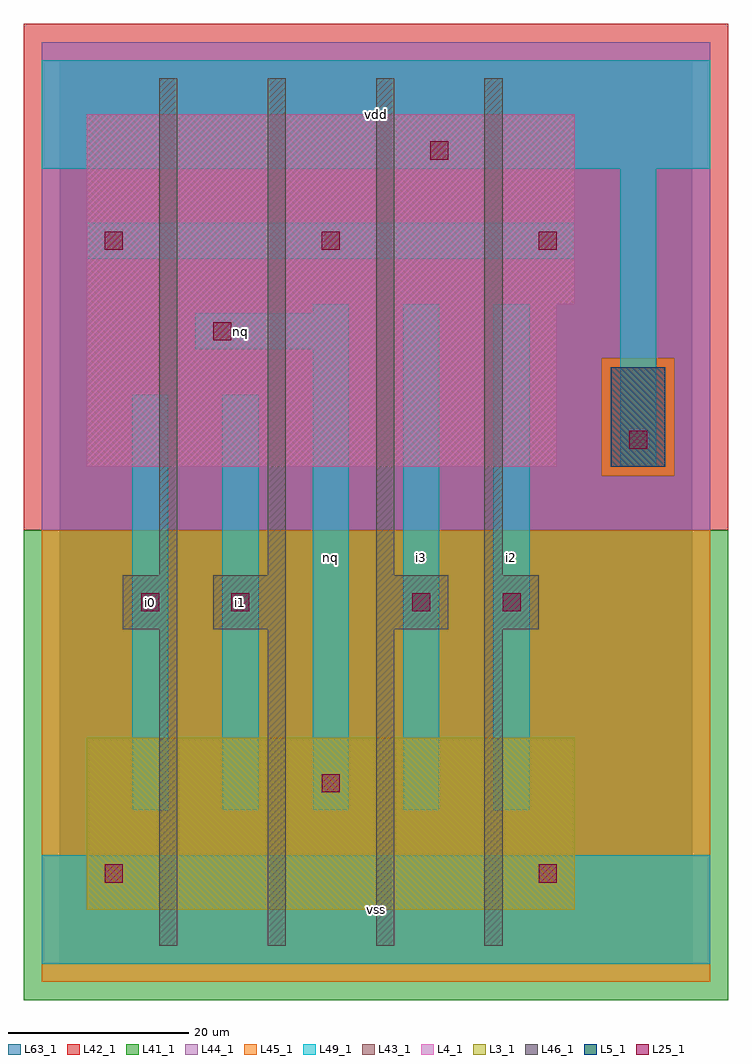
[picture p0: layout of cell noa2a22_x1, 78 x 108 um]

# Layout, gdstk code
import gdstk
lib = gdstk.Library(unit=1e-6, precision=1e-09)
def R(c, l, rs):  # rectangles x0, y0, x1, y1
    for r in rs: c.add(gdstk.rectangle(r[:2], r[2:], *l))
def A(c, l, x, y, w, h, nx, ny, dx, dy):  # array of equal rectangles
    R(c, l, [(x+i*dx, y+j*dy, x+i*dx+w, y+j*dy+h) for i in range(nx) for j in range(ny)])
L3_1 = (3, 1)
L4_1 = (4, 1)
L5_1 = (5, 1)
L25_1 = (25, 1)
L41_1 = (41, 1)
L42_1 = (42, 1)
L43_1 = (43, 1)
L44_1 = (44, 1)
L45_1 = (45, 1)
L46_1 = (46, 1)
L49_1 = (49, 1)
L63_1 = (63, 1)

noa2a22_x1 = lib.new_cell('noa2a22_x1')
R(noa2a22_x1, L3_1, [(3,6,57,25)])
R(noa2a22_x1, L4_1, [(3,55,55,73), (3,73,57,94)])
R(noa2a22_x1, L5_1, [(61,55,67,66)])
A(noa2a22_x1, L25_1, 5, 79, 2, 2, 3, 1, 24, 0)
R(noa2a22_x1, L25_1, [(5,9,7,11), (53,9,55,11), (29,19,31,21), (9,39,11,41), (19,39,21,41), (39,39,41,41), (49,39,51,41), (63,57,65,59), (17,69,19,71), (41,89,43,91)])
R(noa2a22_x1, L41_1, [(-4,-4,74,48)])
R(noa2a22_x1, L42_1, [(-4,48,74,104)])
R(noa2a22_x1, L43_1, [(3,6,57,25), (3,55,55,73), (61,55,67,66), (3,73,57,94)])
R(noa2a22_x1, L44_1, [(-2,48,72,54), (-2,54,60,67), (68,54,72,67), (-2,67,72,102)])
R(noa2a22_x1, L45_1, [(-2,-2,72,48), (60,54,68,67)])
A(noa2a22_x1, L46_1, 11, 2, 2, 35, 4, 1, 12, 0)
A(noa2a22_x1, L46_1, 11, 43, 2, 55, 4, 1, 12, 0)
R(noa2a22_x1, L46_1, [(7,37,13,43), (17,37,25,43), (35,37,43,43), (47,37,53,43)])
R(noa2a22_x1, L49_1, [(-2,0,72,12), (8,17,12,63), (18,17,22,63), (28,17,32,68), (38,17,42,73), (48,17,52,73), (62,55,66,88), (15,68,32,72), (28,72,32,73), (3,78,57,82), (-2,88,72,100)])
R(noa2a22_x1, L63_1, [(0,0,70,100)])
noa2a22_x1.add(gdstk.Label('i0', (10,40), layer=49, texttype=1))
noa2a22_x1.add(gdstk.Label('i1', (20,40), layer=49, texttype=1))
noa2a22_x1.add(gdstk.Label('nq', (30,45), layer=49, texttype=1))
noa2a22_x1.add(gdstk.Label('nq', (20,70), layer=49, texttype=1))
noa2a22_x1.add(gdstk.Label('vss', (35,6), layer=49, texttype=1))
noa2a22_x1.add(gdstk.Label('i2', (50,45), layer=49, texttype=1))
noa2a22_x1.add(gdstk.Label('i3', (40,45), layer=49, texttype=1))
noa2a22_x1.add(gdstk.Label('vdd', (35,94), layer=49, texttype=1))

lib.write_gds('noa2a22_x1.gds')
